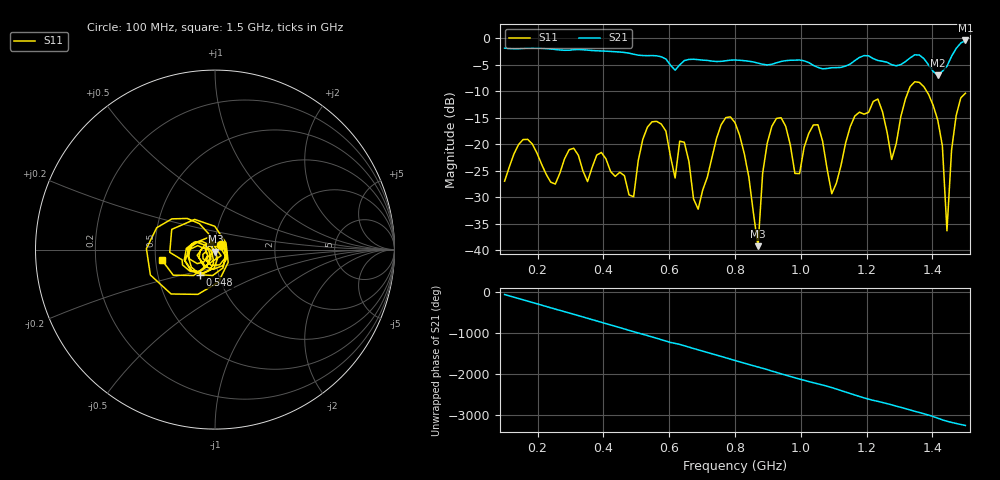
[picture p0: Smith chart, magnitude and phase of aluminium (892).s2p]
! NanoVNA-App
! Date: 2025-09-25 15:02:13
! Start: 100MHz Stop: 1,5GHz Points: 101
! S-Parameter data: F S11 S21 S12 S22
# Hz S RI R 50
!  Frequency  S11_Real  S11_Imag  S21_Real  S21_Imag  S12_Real  S12_Imag  S22_Real  S22_Imag
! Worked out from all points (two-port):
!   101 points, 100 MHz to 1.5 GHz, reference 50 ohm
!   highest |S21| = -0.47 dB at 1.5 GHz (marker M1); lowest = -7.0 dB at 1.416 GHz (marker M2)
!   |S21| within 3 dB of the highest: start of sweep to 570.7 MHz; 1.458 GHz to end of sweep (the widest 2 of 4)
!   lowest |S11| = -39.2 dB at 870 MHz (marker M3), VSWR 1.02, Z = 50.3 - j1.07 ohm
!   |S11| at or under -10 dB: start of sweep to 1.327 GHz; 1.382 GHz to end of sweep
!   S12 and S22 are empty: the file has one direction only
!   S11 on the Smith chart (normalised r, x): 100 MHz: 1.07, +0.06; 548 MHz: 0.82, -0.24; 1.5 GHz: 0.54, -0.07
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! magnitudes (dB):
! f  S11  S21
! 100 MHz  -27.0  -1.9
! 156 MHz  -19.1  -2.0
! 338 MHz  -25.0  -2.2
! 492 MHz  -29.9  -3.1
! 548 MHz  -15.8  -3.3
! 576 MHz  -16.2  -3.5
! 618 MHz  -26.4  -6.1
! 646 MHz  -19.6  -4.3
! 688 MHz  -32.2  -4.1
! 800 MHz  -15.9  -4.2
! 870 MHz  -39.2  -4.7
! 912 MHz  -16.6  -5.0
! 996 MHz  -25.5  -4.2
! 1.038 GHz  -16.4  -5.2
! 1.094 GHz  -29.3  -5.6
! 1.22 GHz  -12.0  -3.9
! 1.276 GHz  -22.9  -5.0
! 1.346 GHz  -8.2  -3.2
! 1.416 GHz  -15.5  -7.0
! 1.444 GHz  -36.3  -5.3
! 1.472 GHz  -14.6  -2.0
! 1.5 GHz  -10.4  -0.5
